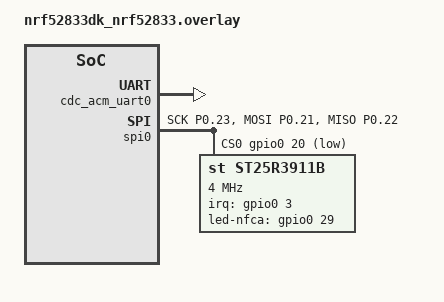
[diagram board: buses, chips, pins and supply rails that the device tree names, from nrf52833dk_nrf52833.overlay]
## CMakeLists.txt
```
# SPDX-License-Identifier: Apache-2.0

cmake_minimum_required(VERSION 3.20.0)
find_package(Zephyr REQUIRED HINTS $ENV{ZEPHYR_BASE})
project(cdc_acm)

FILE(GLOB app_sources src/*.c)
target_sources(app PRIVATE ${app_sources})


zephyr_library_include_directories(configuration)
```

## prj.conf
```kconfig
CONFIG_STDOUT_CONSOLE=y
CONFIG_USB_DEVICE_STACK=y
CONFIG_USB_DEVICE_PRODUCT="ProTag Test Fixture LED Controller"
CONFIG_LOG=y
CONFIG_USB_DRIVER_LOG_LEVEL_ERR=y
CONFIG_USB_DEVICE_LOG_LEVEL_ERR=y
CONFIG_SERIAL=y
CONFIG_UART_INTERRUPT_DRIVEN=y
CONFIG_UART_LINE_CTRL=y

CONFIG_PWM=y

CONFIG_NEWLIB_LIBC=y
CONFIG_CBPRINTF_FP_SUPPORT=y


CONFIG_SPI=y

CONFIG_ST25R3911B_LIB=y
CONFIG_ST25R3911B_LIB_LOG_LEVEL_INF=y

CONFIG_NFC_NDEF=y
CONFIG_NFC_NDEF_RECORD=y
CONFIG_NFC_NDEF_MSG=y
CONFIG_NFC_NDEF_PARSER=y
CONFIG_NFC_NDEF_LE_OOB_REC_PARSER=y
CONFIG_NFC_T2T_PARSER=y
CONFIG_NFC_NDEF_CH_PARSER=y

CONFIG_POLL=y

CONFIG_MAIN_STACK_SIZE=8192
```

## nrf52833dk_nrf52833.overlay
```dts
&zephyr_udc0 {
	cdc_acm_uart0 {
		compatible = "zephyr,cdc-acm-uart";
		label = "CDC_ACM_0";
	};
};


&spi0 {
	compatible = "nordic,nrf-spi";
	status = "okay";
	cs-gpios = <&gpio0 20 GPIO_ACTIVE_LOW>;

	pinctrl-0 = <&spi0_default_alt>;
	pinctrl-1 = <&spi0_sleep_alt>;
	pinctrl-names = "default", "sleep";
	st25r3911b@0 {
		label = "ST25R3911B";
		compatible = "st,st25r3911b";
		reg = <0>;
		spi-max-frequency = <4000000>;
		irq-gpios = <&gpio0 3 0>;
		led-nfca-gpios = <&gpio0 29 0>;
	};
};

&spi1 {
	status = "disabled";
};

&spi2 {
	status = "disabled";
};

&spi3 {
	status = "disabled";
};

&pinctrl {
	spi0_default_alt: spi0_default_alt {
		group1 {
			psels = <NRF_PSEL(SPIM_SCK, 0, 23)>,
				<NRF_PSEL(SPIM_MOSI, 0, 21)>,
				<NRF_PSEL(SPIM_MISO, 0, 22)>;
		};
	};

	spi0_sleep_alt: spi0_sleep_alt {
		group1 {
			psels = <NRF_PSEL(SPIM_SCK, 0, 23)>,
				<NRF_PSEL(SPIM_MOSI, 0, 21)>,
				<NRF_PSEL(SPIM_MISO, 0, 22)>;
			low-power-enable;
		};
	};
};
```

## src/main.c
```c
#include <stdio.h>
#include <string.h>
#include <device.h>
#include <drivers/uart.h>
#include <zephyr.h>
#include <sys/ring_buffer.h>

#include <usb/usb_device.h>
#include <logging/log.h>

#include <device.h>
#include <drivers/pwm.h>
#include <math.h>


// NFC includes
#include <st25r3911b_nfca.h>
#include <nfc/ndef/msg_parser.h>
#include <nfc/t2t/parser.h>
#include <nfc/ndef/payload_type_common.h>
#include <nfc/ndef/text_rec.h>

#define NFCA_BD 128
#define BITS_IN_BYTE 8
#define MAX_TLV_BLOCKS 10
#define MAX_NDEF_RECORDS 10
#define NFCA_T2T_BUFFER_SIZE 1024
#define NFCA_LAST_BIT_MASK 0x80
#define NFCA_FDT_ALIGN_84 84
#define NFCA_FDT_ALIGN_20 20

#define NFC_T2T_READ_CMD 0x30
#define NFC_T2T_READ_CMD_LEN 0x02

#define NFC_T4T_ISODEP_FSD 256
#define NFC_T4T_ISODEP_RX_DATA_MAX_SIZE 1024
#define NFC_T4T_APDU_MAX_SIZE 1024

#define NFC_NDEF_REC_PARSER_BUFF_SIZE 128

#define NFC_TX_DATA_LEN NFC_T4T_ISODEP_FSD
#define NFC_RX_DATA_LEN NFC_T4T_ISODEP_FSD

#define T2T_MAX_DATA_EXCHANGE 16
#define TAG_TYPE_2_DATA_AREA_MULTIPLICATOR 8
#define TAG_TYPE_2_DATA_AREA_SIZE_OFFSET (NFC_T2T_CC_BLOCK_OFFSET + 2)
#define TAG_TYPE_2_BLOCKS_PER_EXCHANGE (T2T_MAX_DATA_EXCHANGE / NFC_T2T_BLOCK_SIZE)

#define TRANSMIT_DELAY 750
#define ALL_REQ_DELAY 500

static uint8_t tx_data[NFC_TX_DATA_LEN];
static uint8_t rx_data[NFC_RX_DATA_LEN];

static struct k_poll_event events[ST25R3911B_NFCA_EVENT_CNT];

static struct k_work_delayable transmit_work;
static struct k_work_delayable shutdown_field_work;
static struct k_work_delayable turn_on_work;


#define RING_BUF_SIZE 1024
uint8_t ring_buffer[RING_BUF_SIZE];

struct device *dev;
struct ring_buf ringbuf;

LOG_MODULE_REGISTER(nfc_led_ctl, LOG_LEVEL_INF);

static const struct pwm_dt_spec pwm_led0 = PWM_DT_SPEC_GET(DT_ALIAS(pwm_led0));

#define SLEEP_MSEC 25U

#define STACKSIZE 2048
/* scheduling priority used by each thread */
#define LED_PRIORITY 7
#define NFC_PRIORITY 8

bool field_on = false;

int initNFC(void);
void handle_error(int err);

bool requesting_nfc_read;

enum states
{
	high_fade,
	on,
	off,
	low,
	low_fade,
	nfc_off,
	nfc_on
};

int program_state = off;

void processTxBuffer(const struct device *dev){
	if (uart_irq_tx_ready(dev))
		{
			uint8_t buffer[64];
			int rb_len, send_len;

			rb_len = ring_buf_get(&ringbuf, buffer, sizeof(buffer));
			if (!rb_len)
			{
				LOG_DBG("Ring buffer empty, disable TX IRQ");
				uart_irq_tx_disable(dev);
				return;
			}

			send_len = uart_fifo_fill(dev, buffer, rb_len);
			if (send_len < rb_len)
			{
				LOG_ERR("Drop %d bytes", rb_len - send_len);
			}

			LOG_DBG("ringbuf -> tty fifo %d bytes", send_len);
		}
}

void writeToUart(const uint8_t *data, uint32_t size){
	ring_buf_put(&ringbuf, data, size);
}

static void interrupt_handler(const struct device *dev, void *user_data)
{
	ARG_UNUSED(user_data);

	while (uart_irq_update(dev) && uart_irq_is_pending(dev))
	{
		if (uart_irq_rx_ready(dev))
		{
			int recv_len, rb_len;
			uint8_t buffer[64];
			size_t len = MIN(ring_buf_space_get(&ringbuf),
							 sizeof(buffer));

			recv_len = uart_fifo_read(dev, buffer, len);
			if (recv_len < 0)
			{
				LOG_ERR("Failed to read UART FIFO");
				recv_len = 0;
			};

			if (strchr(buffer, high_fade + '0') != NULL)
			{ // see if we have received a fade command '0'
				rb_len = ring_buf_put(&ringbuf, "high fade\n", 11);
				program_state = high_fade;
			}
			else if (strchr(buffer, on + '0') != NULL)
			{ // see if we have received an enable command '1'
				rb_len = ring_buf_put(&ringbuf, "on\n", 4);
				program_state = on;
			}
			else if (strchr(buffer, off + '0') != NULL)
			{ // see if we have received a disable command '2'
				rb_len = ring_buf_put(&ringbuf, "off\n", 5);
				program_state = off;
			}
			else if (strchr(buffer, low + '0') != NULL)
			{ // see if we have received a disable command '3'
				rb_len = ring_buf_put(&ringbuf, "low\n", 5);
				program_state = low;
			}
			else if (strchr(buffer, low_fade + '0') != NULL)
			{ // see if we have received a disable command '4'
				rb_len = ring_buf_put(&ringbuf, "low fade\n", 10);
				program_state = low_fade;
			}else if (strchr(buffer, nfc_off + '0') != NULL)
			{ // see if we have received a disable command '4'
				rb_len = ring_buf_put(&ringbuf, "nfc_off\n", 9);
				requesting_nfc_read = false;
				k_work_reschedule(&shutdown_field_work,K_MSEC(100));

			}else if (strchr(buffer, nfc_on + '0') != NULL)
			{ // see if we have received a disable command '4'
				rb_len = ring_buf_put(&ringbuf, "nfc_on\n", 8);
				requesting_nfc_read = true;
				k_work_reschedule(&turn_on_work, K_MSEC(100));
			}
			else if (strchr(buffer, 9 + '0') != NULL)
			{ // see if we have received a disable command '4'
				sys_reboot(0);
			}

			if (rb_len)
			{
				uart_irq_tx_enable(dev);
			}
		}
		processTxBuffer(dev);		
	}
}

static void setupUART()
{
	uint32_t baudrate, dtr = 0U;
	int ret;

	dev = DEVICE_DT_GET_ONE(zephyr_cdc_acm_uart);
	if (!device_is_ready(dev))
	{
		LOG_ERR("CDC ACM device not ready");
		return;
	}

	ret = usb_enable(NULL);
	if (ret != 0)
	{
		LOG_ERR("Failed to enable USB");
		return;
	}

	ring_buf_init(&ringbuf, sizeof(ring_buffer), ring_buffer);

	/* Wait 1 sec for the host to do all settings */
	k_busy_wait(1000000);

	ret = uart_line_ctrl_get(dev, UART_LINE_CTRL_BAUD_RATE, &baudrate);
	if (ret)
	{
		LOG_WRN("Failed to get baudrate, ret code %d", ret);
	}
	else
	{
		LOG_INF("Baudrate detected: %d", baudrate);
	}

	uart_irq_callback_set(dev, interrupt_handler);

	/* Enable rx interrupts */
	uart_irq_rx_enable(dev);
}


double time_sec = 0;

void led_loop(void)
{
	int period = pwm_led0.period / 8U;
	int ret = pwm_set_dt(&pwm_led0, period, period);

	int max_pulse_width = period - (period / 12);
	int min_pulse_width = 0;

	double scale = 0;
	uint32_t pulse_width = 0;

	while (1)
	{
		switch (program_state)
		{
		case high_fade:
			scale = (cos(8.0 * time_sec) + 1.0) / 2.0;
			pulse_width = (uint32_t)((max_pulse_width - min_pulse_width) * scale) + min_pulse_width;
			break;

		case on:
			pulse_width = 0U;
			break;

		case off:
			pulse_width = period;
			break;

		case low:
			pulse_width = max_pulse_width;
			break;

		case low_fade:
			scale = (cos(4.0 * time_sec) + 1.0) / 2.0;
			pulse_width = (uint32_t)((period - max_pulse_width) * scale) + max_pulse_width;
			break;

		default:
			break;
		}

		ret = pwm_set_dt(&pwm_led0, period, pulse_width);
		if (ret)
		{
			LOG_INF("Error %d: failed to set pulse width\n", ret);
			return;
		}

		k_msleep(SLEEP_MSEC);
		time_sec += (double)SLEEP_MSEC / (double)MSEC_PER_SEC;
	}
}



static struct st25r3911b_nfca_buf tx_buf = {
	.data = tx_data,
	.len = sizeof(tx_data)};

static const struct st25r3911b_nfca_buf rx_buf = {
	.data = rx_data,
	.len = sizeof(rx_data)};

enum nfc_tag_type
{
	NFC_TAG_TYPE_UNSUPPORTED = 0,
	NFC_TAG_TYPE_T2T,
	NFC_TAG_TYPE_T4T
};

enum t2t_state
{
	T2T_IDLE,
	T2T_HEADER_READ,
	T2T_DATA_READ
};

struct t2t_tag
{
	enum t2t_state state;
	uint16_t data_bytes;
	uint8_t data[NFCA_T2T_BUFFER_SIZE];
};


static enum nfc_tag_type tag_type;
static struct t2t_tag t2t;

static void nfc_tag_detect(bool all_request)
{
	int err;
	enum st25r3911b_nfca_detect_cmd cmd;

	tag_type = NFC_TAG_TYPE_UNSUPPORTED;

	cmd = all_request ? ST25R3911B_NFCA_DETECT_CMD_ALL_REQ : ST25R3911B_NFCA_DETECT_CMD_SENS_REQ;

	err = st25r3911b_nfca_tag_detect(cmd);
	if (err)
	{
		printk("Tag detect error: %d.\n", err);
	}
}

static int ftd_calculate(uint8_t *data, size_t len)
{
	uint8_t ftd_align;

	ftd_align = (data[len - 1] & NFCA_LAST_BIT_MASK) ? NFCA_FDT_ALIGN_84 : NFCA_FDT_ALIGN_20;

	return len * NFCA_BD * BITS_IN_BYTE + ftd_align;
}

static int nfc_t2t_read_block_cmd_make(uint8_t *tx_data,
									   size_t tx_data_size,
									   uint8_t block_num)
{
	if (!tx_data)
	{
		return -EINVAL;
	}

	if (tx_data_size < NFC_T2T_READ_CMD_LEN)
	{
		return -ENOMEM;
	}

	tx_data[0] = NFC_T2T_READ_CMD;
	tx_data[1] = block_num;

	return 0;
}

static int t2t_header_read(void)
{
	int err;
	int ftd;

	err = nfc_t2t_read_block_cmd_make(tx_data, sizeof(tx_data), 0);
	if (err)
	{
		return err;
	}

	tx_buf.data = tx_data;
	tx_buf.len = NFC_T2T_READ_CMD_LEN;
	
	ftd = ftd_calculate(tx_data, NFC_T2T_READ_CMD_LEN);

	t2t.state = T2T_HEADER_READ;
	
	err = st25r3911b_nfca_transfer_with_crc(&tx_buf, &rx_buf, ftd);

	return err;
}

static void ndef_data_analyze(const uint8_t *ndef_msg_buff, size_t nfc_data_len)
{
	int err;
	struct nfc_ndef_msg_desc *ndef_msg_desc;
	uint8_t desc_buf[NFC_NDEF_PARSER_REQUIRED_MEM(MAX_NDEF_RECORDS)];
	size_t desc_buf_len = sizeof(desc_buf);

	err = nfc_ndef_msg_parse(desc_buf,
							 &desc_buf_len,
							 ndef_msg_buff,
							 &nfc_data_len);
	if (err)
	{
		printk("Error during parsing a NDEF message, err: %d.\n", err);
		return;
	}

	ndef_msg_desc = (struct nfc_ndef_msg_desc *)desc_buf;


	for (int i = 0; i < ndef_msg_desc->record_count; i++)
	{
		struct nfc_ndef_record_desc *record = ndef_msg_desc->record[i];

		struct nfc_ndef_text_rec_payload text_rec;

		if (record->payload_constructor == (payload_constructor_t)nfc_ndef_bin_payload_memcopy)
		{
			const struct nfc_ndef_bin_payload_desc *bin_pay_desc = record->payload_descriptor;

			if (bin_pay_desc->payload != NULL)
			{
				writeToUart("nfc: ",5);
				writeToUart((uint8_t *)bin_pay_desc->payload,bin_pay_desc->payload_length);
				writeToUart("\n",1);
				uart_irq_tx_enable(dev);
				processTxBuffer(dev);
				requesting_nfc_read = false;
			}
			else
			{
				LOG_INF("No payload");
			}
		}
	}
}

static void t2t_data_read_complete(uint8_t *data)
{
	int err;
	printk("data read complete\n");
	if (!data)
	{
		printk("No T2T data read.\n");
		return;
	}

	/* Declaration of Type 2 Tag structure. */
	NFC_T2T_DESC_DEF(tag_data, MAX_TLV_BLOCKS);
	struct nfc_t2t *t2t = &NFC_T2T_DESC(tag_data);

	err = nfc_t2t_parse(t2t, data);
	if (err)
	{
		printk("error: %d, Not enough memory to read whole tag. Printing what have been read.\n",err);
		handle_error(err);
		return;
	}

	// nfc_t2t_printout(t2t);

	struct nfc_t2t_tlv_block *tlv_block = t2t->tlv_block_array;

	for (size_t i = 0; i < t2t->tlv_count; i++)
	{
		if (tlv_block->tag == NFC_T2T_TLV_NDEF_MESSAGE)
		{
			ndef_data_analyze(tlv_block->value, tlv_block->length);
			tlv_block++;
		}
	}

	// shut down the field
	k_work_reschedule(&shutdown_field_work, K_MSEC(TRANSMIT_DELAY));
}

static int t2t_on_data_read(const uint8_t *data, size_t data_len,
							void (*t2t_read_complete)(uint8_t *))
{
	int err;
	int ftd;
	uint8_t block_to_read;
	uint16_t offset = 0;
	static uint8_t block_num;

	block_to_read = t2t.data_bytes / NFC_T2T_BLOCK_SIZE;
	offset = block_num * NFC_T2T_BLOCK_SIZE;

	memcpy(t2t.data + offset, data, data_len);

	block_num += TAG_TYPE_2_BLOCKS_PER_EXCHANGE;

	if (block_num > block_to_read)
	{
		block_num = 0;
		t2t.state = T2T_IDLE;

		if (t2t_read_complete)
		{
			t2t_read_complete(t2t.data);
		}

		return 0;
	}

	err = nfc_t2t_read_block_cmd_make(tx_data, sizeof(tx_data), block_num);
	if (err)
	{
		return err;
	}

	tx_buf.data = tx_data;
	tx_buf.len = NFC_T2T_READ_CMD_LEN;

	ftd = ftd_calculate(tx_data, NFC_T2T_READ_CMD_LEN);

	err = st25r3911b_nfca_transfer_with_crc(&tx_buf, &rx_buf, ftd);

	return err;
}

static int on_t2t_transfer_complete(const uint8_t *data, size_t len)
{
	switch (t2t.state)
	{
	case T2T_HEADER_READ:
		t2t.data_bytes = TAG_TYPE_2_DATA_AREA_MULTIPLICATOR *
						 data[TAG_TYPE_2_DATA_AREA_SIZE_OFFSET];

		if ((t2t.data_bytes + NFC_T2T_FIRST_DATA_BLOCK_OFFSET) > sizeof(t2t.data))
		{
			return -ENOMEM;
		}

		t2t.state = T2T_DATA_READ;

		return t2t_on_data_read(data, len, t2t_data_read_complete);

	case T2T_DATA_READ:
		return t2t_on_data_read(data, len, t2t_data_read_complete);

	default:
		return -EFAULT;
	}
}


static void nfc_field_on(void)
{
	nfc_tag_detect(true);
	printk("NFC field on.\n");
	field_on = true;
}

static void nfc_timeout(bool tag_sleep)
{
	printk("NFC timeout\n");
	k_sleep(K_MSEC(ALL_REQ_DELAY));
	handle_error(-89); 
	// /* Sleep will block processing loop. Accepted as it is short. */
	// k_sleep(K_MSEC(ALL_REQ_DELAY));

	// nfc_tag_detect(false);
}

static void nfc_field_off(void)
{
	printk("NFC field off.\n");
	field_on = false;
}

static void nfc_field_off_handler(struct k_work *work){
	st25r3911b_nfca_field_off();
}

static void nfc_field_on_handler(struct k_work *work){
	if (requesting_nfc_read && !field_on) {
		printk("calling field on\n");
		st25r3911b_nfca_field_on();
	}else{

		printk("requesting tag detect\n");
		nfc_tag_detect(false);
	}
}

static void tag_detected(const struct st25r3911b_nfca_sens_resp *sens_resp)
{
	printk("Anticollision: 0x%x Platform: 0x%x.\n",
		   sens_resp->anticollison,
		   sens_resp->platform_info);

	int err = st25r3911b_nfca_anticollision_start();

	if (err)
	{
		printk("Anticollision error: %d.\n", err);
	}
}

static void anticollision_completed(const struct st25r3911b_nfca_tag_info *tag_info,
									int err)
{
	if (err)
	{
		printk("Error during anticollision avoidance.\n");

		// nfc_tag_detect(false);
		return;
	}

	printk("Tag info, type: %d.\n", tag_info->type);

	if (tag_info->type == ST25R3911B_NFCA_TAG_TYPE_T2T)
	{
		printk("Type 2 Tag.\n");

		tag_type = NFC_TAG_TYPE_T2T;

		err = t2t_header_read();
		if (err)
		{
			printk("Type 2 Tag data read error %d.\n", err);
			handle_error(-93);
		}
	}
}

static void transfer_completed(const uint8_t *data, size_t len, int err)
{
	if (err)
	{
		printk("NFC Transfer error: %d.\n", err);
		handle_error(-91);
		return;
	}

	switch (tag_type)
	{
	case NFC_TAG_TYPE_T2T:
		err = on_t2t_transfer_complete(data, len);
		if (err)
		{
			printk("NFC-A T2T read error: %d.\n", err);
			handle_error(-92);
		}
		// LOG_HEXDUMP_INF(data, len, "data read");

		break;

	default:
		break;
	}
}

static void tag_sleep(void)
{
	printk("Tag entered the Sleep state.\n");
}

static const struct st25r3911b_nfca_cb cb = {
	.field_on = nfc_field_on,
	.field_off = nfc_field_off,
	.tag_detected = tag_detected,
	.anticollision_completed = anticollision_completed,
	.rx_timeout = nfc_timeout,
	.transfer_completed = transfer_completed,
	.tag_sleep = tag_sleep};


int initNFC(void){

	int err = st25r3911b_nfca_init(events, ARRAY_SIZE(events), &cb);
	if (err)
	{
		LOG_INF("NFCA initialization failed err: %d.\n", err);
		return err;
	}
	return 1;
}

void handle_error(int err){
	// printk("Error received %d\n",err);
	bool reschedule = false;

	switch (err)
	{
	case -1:
		// General process error
		// this seems to be followed by a timeout
		reschedule = false; 
		break;
	case -13:
		// RF Collision
		reschedule = true;
		break;
	case -22:
		// Ran out of memory??
		reschedule = true;
		break;

	case -89:
		// nfc timeout
		reschedule = true;
		break;

	case -91:
		// transfer error
		reschedule = true;
		break;

	case -92:
		// tag read error
		reschedule = true;
		break;

	case -93:
		// tag header read error
		reschedule = true;
		break;
	
	default:
		break;
	}

	if( reschedule ){
		// writeToUart("nfc error\n", 11);
		// uart_irq_tx_enable(dev);
		// processTxBuffer(dev);
		requesting_nfc_read = true;
		k_work_reschedule(&turn_on_work, K_MSEC(100));
	}

	// nfc_tag_detect(false);
	// k_work_reschedule(&shutdown_field_work, K_MSEC(100)); // reschedule turn off
	// k_work_reschedule(&turn_on_work, K_MSEC(500)); // reschedule turn on
}


void nfc_loop(void){


	printk("starting nfc loop\n");
	while (initNFC() != 1){
		LOG_INF("unable to init NFC\n");
		k_busy_wait(1000000); //wait for 1sec and try again
	}

	int err;
	while (true)
	{
		k_poll(events, ARRAY_SIZE(events), K_FOREVER);
		// printk("processing state\n");
		err = st25r3911b_nfca_process();
		if (err)
		{
			// printk("NFC-A process failed, err: %d.\n", err);
			handle_error(err);
		}
	}
}


K_THREAD_DEFINE(led_loop_id, STACKSIZE, led_loop, NULL, NULL, NULL,
				LED_PRIORITY, 0, 0);


K_THREAD_DEFINE(nfc_loop_id, STACKSIZE, nfc_loop, NULL, NULL, NULL,
				NFC_PRIORITY, 0, 2000);

void main(void)
{
	

	k_work_init_delayable(&turn_on_work, nfc_field_on_handler);
	k_work_init_delayable(&shutdown_field_work, nfc_field_off_handler);
	
	if (!device_is_ready(pwm_led0.dev))
	{
		LOG_INF("Error: PWM device %s is not ready\n",
				pwm_led0.dev->name);
		return;
	}

	setupUART();

	while (1)
	{
		k_msleep(1000);
		
	}
	
}
```

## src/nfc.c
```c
// NFC includes
#include <st25r3911b_nfca.h>
#include <nfc/ndef/msg_parser.h>
#include <nfc/ndef/le_oob_rec_parser.h>
#include <nfc/t2t/parser.h>
#include <nfc/t4t/ndef_file.h>
#include <nfc/t4t/isodep.h>
#include <nfc/t4t/hl_procedure.h>
#include <nfc/ndef/ch_rec_parser.h>

#define NFCA_BD 128
#define BITS_IN_BYTE 8
#define MAX_TLV_BLOCKS 10
#define MAX_NDEF_RECORDS 10
#define NFCA_T2T_BUFFER_SIZE 1024
#define NFCA_LAST_BIT_MASK 0x80
#define NFCA_FDT_ALIGN_84 84
#define NFCA_FDT_ALIGN_20 20

#define NFC_T2T_READ_CMD 0x30
#define NFC_T2T_READ_CMD_LEN 0x02

#define NFC_T4T_ISODEP_FSD 256
#define NFC_T4T_ISODEP_RX_DATA_MAX_SIZE 1024
#define NFC_T4T_APDU_MAX_SIZE 1024

#define NFC_NDEF_REC_PARSER_BUFF_SIZE 128

#define NFC_TX_DATA_LEN NFC_T4T_ISODEP_FSD
#define NFC_RX_DATA_LEN NFC_T4T_ISODEP_FSD

#define T2T_MAX_DATA_EXCHANGE 16
#define TAG_TYPE_2_DATA_AREA_MULTIPLICATOR 8
#define TAG_TYPE_2_DATA_AREA_SIZE_OFFSET (NFC_T2T_CC_BLOCK_OFFSET + 2)
#define TAG_TYPE_2_BLOCKS_PER_EXCHANGE (T2T_MAX_DATA_EXCHANGE / NFC_T2T_BLOCK_SIZE)

#define TRANSMIT_DELAY 3000
#define ALL_REQ_DELAY 2000

static uint8_t tx_data[NFC_TX_DATA_LEN];
static uint8_t rx_data[NFC_RX_DATA_LEN];

static struct k_poll_event events[ST25R3911B_NFCA_EVENT_CNT];
static struct k_work_delayable transmit_work;

NFC_T4T_CC_DESC_DEF(t4t_cc, MAX_TLV_BLOCKS);

static struct st25r3911b_nfca_buf tx_buf = {
	.data = tx_data,
	.len = sizeof(tx_data)
};

static const struct st25r3911b_nfca_buf rx_buf = {
	.data = rx_data,
	.len = sizeof(rx_data)
};

enum nfc_tag_type {
	NFC_TAG_TYPE_UNSUPPORTED = 0,
	NFC_TAG_TYPE_T2T,
	NFC_TAG_TYPE_T4T
};

enum t2t_state {
	T2T_IDLE,
	T2T_HEADER_READ,
	T2T_DATA_READ
};

struct t2t_tag {
	enum t2t_state state;
	uint16_t data_bytes;
	uint8_t data[NFCA_T2T_BUFFER_SIZE];
};

struct t4t_tag {
	uint8_t data[NFC_T4T_ISODEP_RX_DATA_MAX_SIZE];
	uint8_t ndef[MAX_TLV_BLOCKS][NFC_T4T_APDU_MAX_SIZE];
	uint8_t tlv_index;
};

static enum nfc_tag_type tag_type;
static struct t2t_tag t2t;
static struct t4t_tag t4t;

static void nfc_tag_detect(bool all_request)
{
	int err;
	enum st25r3911b_nfca_detect_cmd cmd;

	tag_type = NFC_TAG_TYPE_UNSUPPORTED;

	cmd = all_request ? ST25R3911B_NFCA_DETECT_CMD_ALL_REQ :
		ST25R3911B_NFCA_DETECT_CMD_SENS_REQ;

	err = st25r3911b_nfca_tag_detect(cmd);
	if (err) {
		printk("Tag detect error: %d.\n", err);
	}
}

static int ftd_calculate(uint8_t *data, size_t len)
{
	uint8_t ftd_align;

	ftd_align = (data[len - 1] & NFCA_LAST_BIT_MASK) ?
		NFCA_FDT_ALIGN_84 : NFCA_FDT_ALIGN_20;

	return len * NFCA_BD * BITS_IN_BYTE + ftd_align;
}

static int nfc_t2t_read_block_cmd_make(uint8_t *tx_data,
				       size_t tx_data_size,
				       uint8_t block_num)
{
	if (!tx_data) {
		return -EINVAL;
	}

	if (tx_data_size < NFC_T2T_READ_CMD_LEN) {
		return -ENOMEM;
	}

	tx_data[0] = NFC_T2T_READ_CMD;
	tx_data[1] = block_num;

	return 0;
}

static int t2t_header_read(void)
{
	int err;
	int ftd;

	err = nfc_t2t_read_block_cmd_make(tx_data, sizeof(tx_data), 0);
	if (err) {
		return err;
	}

	tx_buf.data = tx_data;
	tx_buf.len = NFC_T2T_READ_CMD_LEN;

	ftd = ftd_calculate(tx_data, NFC_T2T_READ_CMD_LEN);

	t2t.state = T2T_HEADER_READ;

	err = st25r3911b_nfca_transfer_with_crc(&tx_buf, &rx_buf, ftd);

	return err;
}

/** .. include_startingpoint_le_oob_rec_parser_rst */
static void ndef_le_oob_rec_analyze(const struct nfc_ndef_record_desc *le_oob_rec_desc)
{
	int err;
	uint8_t desc_buf[NFC_NDEF_REC_PARSER_BUFF_SIZE];
	uint32_t desc_buf_len = sizeof(desc_buf);

	err = nfc_ndef_le_oob_rec_parse(le_oob_rec_desc, desc_buf,
					&desc_buf_len);
	if (err) {
		printk("Error during NDEF LE OOB Record parsing, err: %d.\n",
			err);
	} else {
		nfc_ndef_le_oob_rec_printout(
			(struct nfc_ndef_le_oob_rec_payload_desc *) desc_buf);
	}
}
/** .. include_endpoint_le_oob_rec_parser_rst */

/** .. include_startingpoint_ch_rec_parser_rst */
static void ndef_ch_rec_analyze(const struct nfc_ndef_record_desc *ndef_rec_desc)
{
	int err;
	uint8_t hs_buf[NFC_NDEF_REC_PARSER_BUFF_SIZE];
	uint32_t hs_buf_len = sizeof(hs_buf);
	uint8_t ac_buf[NFC_NDEF_REC_PARSER_BUFF_SIZE];
	uint32_t ac_buf_len = sizeof(ac_buf);
	struct nfc_ndef_ch_rec *ch_rec;
	struct nfc_ndef_ch_ac_rec *ac_rec;

	err = nfc_ndef_ch_rec_parse(ndef_rec_desc, hs_buf, &hs_buf_len);
	if (err) {
		printk("Error during parsing Handover Select record: %d\n",
		       err);
		return;
	}

	ch_rec = (struct nfc_ndef_ch_rec *)hs_buf;

	printk("Handover Select Record payload");

	nfc_ndef_ch_rec_printout(ch_rec);

	for (size_t i = 0; i < ch_rec->local_records->record_count; i++) {
		if (nfc_ndef_ch_ac_rec_check(ch_rec->local_records->record[i])) {
			err = nfc_ndef_ch_ac_rec_parse(ch_rec->local_records->record[i],
						       ac_buf, &ac_buf_len);
			if (err) {
				printk("Error during parsing AC record: %d\n",
				       err);
				return;
			}

			ac_rec = (struct nfc_ndef_ch_ac_rec *)ac_buf;

			nfc_ndef_ac_rec_printout(ac_rec);
		}
	}
}
/** .. include_endpoint_ch_rec_parser_rst */

static void ndef_rec_analyze(const struct nfc_ndef_record_desc *ndef_rec_desc)
{
	/* Match NDEF Record with specific NDEF Record parser. */
	if (nfc_ndef_ch_rec_check(ndef_rec_desc,
				  NFC_NDEF_CH_REC_TYPE_HANDOVER_SELECT)) {
		ndef_ch_rec_analyze(ndef_rec_desc);
	} else if (nfc_ndef_le_oob_rec_check(ndef_rec_desc)) {
		ndef_le_oob_rec_analyze(ndef_rec_desc);
	} else {
		/* Do nothing */
	}
}

static void ndef_data_analyze(const uint8_t *ndef_msg_buff, size_t nfc_data_len)
{
	int  err;
	struct nfc_ndef_msg_desc *ndef_msg_desc;
	uint8_t desc_buf[NFC_NDEF_PARSER_REQUIRED_MEM(MAX_NDEF_RECORDS)];
	size_t desc_buf_len = sizeof(desc_buf);

	err = nfc_ndef_msg_parse(desc_buf,
				 &desc_buf_len,
				 ndef_msg_buff,
				 &nfc_data_len);
	if (err) {
		printk("Error during parsing a NDEF message, err: %d.\n", err);
		return;
	}

	ndef_msg_desc = (struct nfc_ndef_msg_desc *) desc_buf;

	nfc_ndef_msg_printout(ndef_msg_desc);

	for (size_t i = 0; i < ndef_msg_desc->record_count; i++) {
		ndef_rec_analyze(ndef_msg_desc->record[i]);
	}
}

static void t2t_data_read_complete(uint8_t *data)
{
	int err;

	if (!data) {
		printk("No T2T data read.\n");
		return;
	}

	/* Declaration of Type 2 Tag structure. */
	NFC_T2T_DESC_DEF(tag_data, MAX_TLV_BLOCKS);
	struct nfc_t2t *t2t = &NFC_T2T_DESC(tag_data);

	err = nfc_t2t_parse(t2t, data);
	if (err) {
		printk("Not enought memory to read whole tag. Printing what have been read.\n");
	}

	nfc_t2t_printout(t2t);

	struct nfc_t2t_tlv_block *tlv_block = t2t->tlv_block_array;

	for (size_t i = 0; i < t2t->tlv_count; i++) {
		if (tlv_block->tag == NFC_T2T_TLV_NDEF_MESSAGE) {
			ndef_data_analyze(tlv_block->value, tlv_block->length);
			tlv_block++;
		}
	}

	st25r3911b_nfca_tag_sleep();

	k_work_reschedule(&transmit_work, K_MSEC(TRANSMIT_DELAY));
}

static int t2t_on_data_read(const uint8_t *data, size_t data_len,
			    void (*t2t_read_complete)(uint8_t *))
{
	int err;
	int ftd;
	uint8_t block_to_read;
	uint16_t offset = 0;
	static uint8_t block_num;

	block_to_read = t2t.data_bytes / NFC_T2T_BLOCK_SIZE;
	offset = block_num * NFC_T2T_BLOCK_SIZE;

	memcpy(t2t.data + offset, data, data_len);

	block_num += TAG_TYPE_2_BLOCKS_PER_EXCHANGE;

	if (block_num > block_to_read) {
		block_num = 0;
		t2t.state = T2T_IDLE;

		if (t2t_read_complete) {
			t2t_read_complete(t2t.data);
		}

		return 0;
	}

	err = nfc_t2t_read_block_cmd_make(tx_data, sizeof(tx_data), block_num);
	if (err) {
		return err;
	}

	tx_buf.data = tx_data;
	tx_buf.len = NFC_T2T_READ_CMD_LEN;

	ftd = ftd_calculate(tx_data, NFC_T2T_READ_CMD_LEN);

	err = st25r3911b_nfca_transfer_with_crc(&tx_buf, &rx_buf, ftd);

	return err;
}

static int on_t2t_transfer_complete(const uint8_t *data, size_t len)
{
	switch (t2t.state) {
	case T2T_HEADER_READ:
		t2t.data_bytes = TAG_TYPE_2_DATA_AREA_MULTIPLICATOR *
				 data[TAG_TYPE_2_DATA_AREA_SIZE_OFFSET];

		if ((t2t.data_bytes + NFC_T2T_FIRST_DATA_BLOCK_OFFSET) > sizeof(t2t.data)) {
			return -ENOMEM;
		}

		t2t.state = T2T_DATA_READ;

		return t2t_on_data_read(data, len, t2t_data_read_complete);

	case T2T_DATA_READ:
		return t2t_on_data_read(data, len, t2t_data_read_complete);

	default:
		return -EFAULT;
	}
}

static void transfer_handler(struct k_work *work)
{
	nfc_tag_detect(false);
}

static void nfc_field_on(void)
{
	printk("NFC field on.\n");

	nfc_tag_detect(false);
}

static void nfc_timeout(bool tag_sleep)
{
	if (tag_sleep) {
		printk("Tag sleep or no detected, sending ALL Request.\n");
	} else if (tag_type == NFC_TAG_TYPE_T4T) {
		nfc_t4t_isodep_on_timeout();

		return;
	} else {
		/* Do nothing. */
	}

	/* Sleep will block processing loop. Accepted as it is short. */
	k_sleep(K_MSEC(ALL_REQ_DELAY));

	nfc_tag_detect(true);
}

static void nfc_field_off(void)
{
	printk("NFC field off.\n");
}

static void tag_detected(const struct st25r3911b_nfca_sens_resp *sens_resp)
{
	printk("Anticollision: 0x%x Platform: 0x%x.\n",
		sens_resp->anticollison,
		sens_resp->platform_info);

	int err = st25r3911b_nfca_anticollision_start();

	if (err) {
		printk("Anticollision error: %d.\n", err);
	}
}

static void anticollision_completed(const struct st25r3911b_nfca_tag_info *tag_info,
				    int err)
{
	if (err) {
		printk("Error during anticollision avoidance.\n");

		nfc_tag_detect(false);

		return;
	}

	printk("Tag info, type: %d.\n", tag_info->type);

	if (tag_info->type == ST25R3911B_NFCA_TAG_TYPE_T2T) {
		printk("Type 2 Tag.\n");

		tag_type = NFC_TAG_TYPE_T2T;

		err = t2t_header_read();
		if (err) {
			printk("Type 2 Tag data read error %d.\n", err);
		}
	} else if (tag_info->type == ST25R3911B_NFCA_TAG_TYPE_T4T) {
		printk("Type 4 Tag.\n");

		tag_type = NFC_TAG_TYPE_T4T;

		/* Send RATS command */
		err = nfc_t4t_isodep_rats_send(NFC_T4T_ISODEP_FSD_256, 0);
		if (err) {
			printk("Type 4 Tag RATS sending error %d.\n", err);
		}
	} else {
		printk("Unsupported tag type.\n");

		tag_type = NFC_TAG_TYPE_UNSUPPORTED;

		nfc_tag_detect(false);

		return;
	}
}

static void transfer_completed(const uint8_t *data, size_t len, int err)
{
	if (err) {
		printk("NFC Transfer error: %d.\n", err);
		return;
	}

	switch (tag_type) {
	case NFC_TAG_TYPE_T2T:
		err = on_t2t_transfer_complete(data, len);
		if (err) {
			printk("NFC-A T2T read error: %d.\n", err);
		}

		break;

	case NFC_TAG_TYPE_T4T:
		err = nfc_t4t_isodep_data_received(data, len, err);
		if (err) {
			printk("NFC-A T4T read error: %d.\n", err);
		}

		break;

	default:
		break;
	}
}

static void tag_sleep(void)
{
	printk("Tag entered the Sleep state.\n");
}

static const struct st25r3911b_nfca_cb cb = {
	.field_on = nfc_field_on,
	.field_off = nfc_field_off,
	.tag_detected = tag_detected,
	.anticollision_completed = anticollision_completed,
	.rx_timeout = nfc_timeout,
	.transfer_completed = transfer_completed,
	.tag_sleep = tag_sleep
};

static void t4t_isodep_selected(const struct nfc_t4t_isodep_tag *t4t_tag)
{
	int err;

	printk("NFC T4T selected.\n");

	if ((t4t_tag->lp_divisor != 0) &&
	    (t4t_tag->lp_divisor != t4t_tag->pl_divisor)) {
		printk("Unsupported bitrate divisor by Reader/Writer.\n");
	}

	err = nfc_t4t_hl_procedure_ndef_tag_app_select();
	if (err) {
		printk("NFC T4T app select err %d.\n", err);
		return;
	}
}

static void t4t_isodep_error(int err)
{
	printk("ISO-DEP Protocol error %d.\n", err);

	nfc_tag_detect(false);
}

static void t4t_isodep_data_send(uint8_t *data, size_t data_len, uint32_t ftd)
{
	int err;

	tx_buf.data = data;
	tx_buf.len = data_len;

	err = st25r3911b_nfca_transfer_with_crc(&tx_buf, &rx_buf, ftd);
	if (err) {
		printk("NFC T4T ISO-DEP transfer error: %d.\n", err);
	}
}

static void t4t_isodep_received(const uint8_t *data, size_t data_len)
{
	int err;

	err = nfc_t4t_hl_procedure_on_data_received(data, data_len);
	if (err) {
		printk("NFC Type 4 Tag HL data received error: %d.\n", err);
	}
}

static void t4t_isodep_deselected(void)
{
	st25r3911b_nfca_tag_sleep();

	k_work_reschedule(&transmit_work, K_MSEC(TRANSMIT_DELAY));
}

static const struct nfc_t4t_isodep_cb t4t_isodep_cb = {
	.selected = t4t_isodep_selected,
	.deselected = t4t_isodep_deselected,
	.error = t4t_isodep_error,
	.ready_to_send = t4t_isodep_data_send,
	.data_received = t4t_isodep_received
};

static void t4t_hl_selected(enum nfc_t4t_hl_procedure_select type)
{
	int err = 0;

	switch (type) {
	case NFC_T4T_HL_PROCEDURE_NDEF_APP_SELECT:
		printk("NFC T4T NDEF Application selected.\n");

		err = nfc_t4t_hl_procedure_cc_select();
		if (err) {
			printk("NFC T4T Capability Container select error: %d.\n",
				err);
		}

		break;

	case NFC_T4T_HL_PROCEDURE_CC_SELECT:
		printk("NFC T4T Capability Container file selected.\n");

		err = nfc_t4t_hl_procedure_cc_read(&NFC_T4T_CC_DESC(t4t_cc));
		if (err) {
			printk("Capability Container read error: %d.\n", err);
		}

		break;

	case NFC_T4T_HL_PROCEDURE_NDEF_FILE_SELECT:
		printk("NFC T4T NDEF file selected.\n");

		err = nfc_t4t_hl_procedure_ndef_read(&NFC_T4T_CC_DESC(t4t_cc),
						     t4t.ndef[t4t.tlv_index], NFC_T4T_APDU_MAX_SIZE);
		if (err) {
			printk("NFC T4T NDEF file read error %d.\n", err);
		}

		break;

	default:
		break;
	}

	if (err) {
		st25r3911b_nfca_tag_sleep();

		k_work_reschedule(&transmit_work, K_MSEC(TRANSMIT_DELAY));
	}
}

static void t4t_hl_cc_read(struct nfc_t4t_cc_file *cc)
{
	printk("NFC T4T Capability Container file read.\n");

	for (size_t i = 0; i < cc->tlv_count; i++) {
		int err;
		struct nfc_t4t_tlv_block *tlv_block = &cc->tlv_block_array[i];

		if ((tlv_block->type == NFC_T4T_TLV_BLOCK_TYPE_NDEF_FILE_CONTROL_TLV) &&
		    (tlv_block->value.read_access == NFC_T4T_TLV_BLOCK_CONTROL_FILE_READ_ACCESS_GRANTED)) {
			err = nfc_t4t_hl_procedure_ndef_file_select(tlv_block->value.file_id);
			if (err) {
				printk("NFC T4T NDEF file select error: %d.\n", err);
			}

			return;
		}
	}

	printk("No NDEF File TLV in Capability Container.");
}

static void t4t_hl_ndef_read(uint16_t file_id, const uint8_t *data, size_t len)
{
	int err;
	struct nfc_t4t_cc_file *cc;
	struct nfc_t4t_tlv_block *tlv_block;

	printk("NDEF file read, id: 0x%x.\n", file_id);

	t4t.tlv_index++;
	cc = &NFC_T4T_CC_DESC(t4t_cc);

	for (size_t i = t4t.tlv_index; i < cc->tlv_count; i++) {
		tlv_block = &cc->tlv_block_array[i];

		if ((tlv_block->type == NFC_T4T_TLV_BLOCK_TYPE_NDEF_FILE_CONTROL_TLV) &&
		    (tlv_block->value.read_access == NFC_T4T_TLV_BLOCK_CONTROL_FILE_READ_ACCESS_GRANTED)) {

			err = nfc_t4t_hl_procedure_ndef_file_select(tlv_block->value.file_id);
			if (err) {
				printk("NFC T4T NDEF file select error: %d.\n", err);
			}

			return;
		}

		t4t.tlv_index++;
	}

	nfc_t4t_cc_file_printout(cc);

	tlv_block = cc->tlv_block_array;
	for (size_t i = 0; i < cc->tlv_count; i++) {
		if ((tlv_block[i].type == NFC_T4T_TLV_BLOCK_TYPE_NDEF_FILE_CONTROL_TLV) ||
		    (tlv_block[i].value.file.content != NULL)) {
			ndef_data_analyze(nfc_t4t_ndef_file_msg_get(tlv_block[i].value.file.content),
					  nfc_t4t_ndef_file_msg_size_get(tlv_block[i].value.file.len));
		}
	}

	t4t.tlv_index = 0;

	err = nfc_t4t_isodep_tag_deselect();
	if (err) {
		printk("NFC T4T Deselect error: %d.\n", err);
	}
}

static const struct nfc_t4t_hl_procedure_cb t4t_hl_procedure_cb = {
	.selected = t4t_hl_selected,
	.cc_read = t4t_hl_cc_read,
	.ndef_read = t4t_hl_ndef_read
};
```
